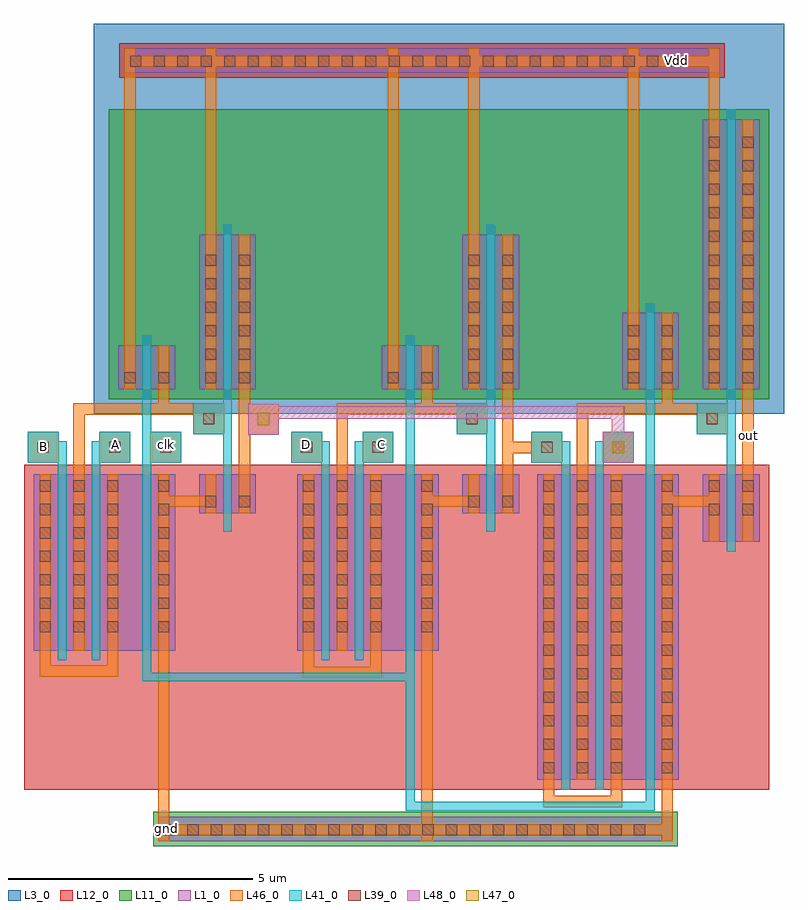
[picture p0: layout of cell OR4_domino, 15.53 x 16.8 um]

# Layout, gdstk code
import gdstk
lib = gdstk.Library(unit=1e-6, precision=1e-09)
def R(c, l, rs):  # rectangles x0, y0, x1, y1
    for r in rs: c.add(gdstk.rectangle(r[:2], r[2:], *l))
def A(c, l, x, y, w, h, nx, ny, dx, dy):  # array of equal rectangles
    R(c, l, [(x+i*dx, y+j*dy, x+i*dx+w, y+j*dy+h) for i in range(nx) for j in range(ny)])
L1_0 = (1, 0)
L3_0 = (3, 0)
L11_0 = (11, 0)
L12_0 = (12, 0)
L39_0 = (39, 0)
L41_0 = (41, 0)
L46_0 = (46, 0)
L47_0 = (47, 0)
L48_0 = (48, 0)

or4_domino = lib.new_cell('OR4_domino')
R(or4_domino, L1_0, [(1.43,-5.235,11.95,-4.735), (9.18,-3.98,12.07,2.26), (-1.11,-1.34,1.78,2.26), (4.27,-1.34,7.16,2.26), (12.56,0.88,13.72,2.26), (2.27,1.47,3.43,2.26), (7.65,1.47,8.81,2.26), (0.62,4,1.78,4.9), (2.27,4,3.43,7.16), (6,4,7.16,4.9), (7.65,4,8.81,7.16), (10.91,4,12.07,5.56), (12.56,4,13.72,9.52), (0.74,10.465,12.91,10.965)])
R(or4_domino, L3_0, [(0.12,3.5,14.22,11.465)])
R(or4_domino, L11_0, [(1.33,-5.335,12.05,-4.635), (0.42,3.8,13.92,9.72)])
R(or4_domino, L12_0, [(-1.31,-4.18,13.92,2.46), (0.64,10.365,13.01,11.065)])
A(or4_domino, L39_0, 1.55, -5.115, 0.23, 0.23, 21, 1, 0.48, 0)
A(or4_domino, L39_0, 9.3, -3.85, 0.23, 0.23, 3, 13, 0.69, 0.48)
A(or4_domino, L39_0, 11.72, -3.85, 0.23, 0.23, 1, 13, 0, 0.48)
A(or4_domino, L39_0, -0.99, -0.97, 0.23, 0.23, 3, 7, 0.69, 0.48)
A(or4_domino, L39_0, 1.43, -0.97, 0.23, 0.23, 1, 7, 0, 0.48)
A(or4_domino, L39_0, 4.39, -0.97, 0.23, 0.23, 3, 7, 0.69, 0.48)
A(or4_domino, L39_0, 6.81, -0.97, 0.23, 0.23, 1, 7, 0, 0.48)
A(or4_domino, L39_0, 2.39, 4.12, 0.23, 0.23, 1, 6, 0, 0.48)
A(or4_domino, L39_0, 3.08, 4.12, 0.23, 0.23, 1, 6, 0, 0.48)
A(or4_domino, L39_0, 7.77, 4.12, 0.23, 0.23, 1, 6, 0, 0.48)
A(or4_domino, L39_0, 8.46, 4.12, 0.23, 0.23, 1, 6, 0, 0.48)
A(or4_domino, L39_0, 11.03, 4.12, 0.23, 0.23, 1, 3, 0, 0.48)
A(or4_domino, L39_0, 11.72, 4.12, 0.23, 0.23, 1, 3, 0, 0.48)
A(or4_domino, L39_0, 12.68, 4.12, 0.23, 0.23, 1, 6, 0, 0.48)
A(or4_domino, L39_0, 13.37, 4.12, 0.23, 0.23, 1, 6, 0, 0.48)
A(or4_domino, L39_0, 12.68, 7.01, 0.23, 0.23, 1, 5, 0, 0.48)
A(or4_domino, L39_0, 13.37, 7.01, 0.23, 0.23, 1, 5, 0, 0.48)
A(or4_domino, L39_0, 0.86, 10.585, 0.23, 0.23, 24, 1, 0.48, 0)
R(or4_domino, L39_0, [(12.68,1.43,12.91,1.66), (13.37,1.43,13.6,1.66), (2.39,1.59,2.62,1.82), (3.08,1.59,3.31,1.82), (7.77,1.59,8,1.82), (8.46,1.59,8.69,1.82), (12.68,1.91,12.91,2.14), (13.37,1.91,13.6,2.14), (-1.03,2.7,-0.8,2.93), (0.43,2.7,0.66,2.93), (1.47,2.7,1.7,2.93), (4.35,2.7,4.58,2.93), (5.81,2.7,6.04,2.93), (9.26,2.7,9.49,2.93), (10.72,2.7,10.95,2.93), (3.47,3.275,3.7,3.505), (2.35,3.28,2.58,3.51), (7.73,3.28,7.96,3.51), (12.64,3.28,12.87,3.51), (0.74,4.12,0.97,4.35), (1.43,4.12,1.66,4.35), (6.12,4.12,6.35,4.35), (6.81,4.12,7.04,4.35)])
R(or4_domino, L41_0, [(6.49,-4.61,6.67,5.1), (6.53,-4.61,11.51,-4.43), (11.4,-4.61,11.58,5.76), (9.67,-4.18,9.85,2.94), (10.36,-4.18,10.54,2.94), (1.11,-1.97,1.29,5.1), (1.11,-1.97,6.67,-1.79), (-0.62,-1.54,-0.44,2.94), (0.07,-1.54,0.25,2.94), (4.76,-1.54,4.94,2.94), (5.45,-1.54,5.63,2.94), (13.05,0.68,13.23,9.72), (2.76,1.09,2.94,7.36), (8.14,1.09,8.32,7.36), (-1.23,2.5,-0.6,3.13), (0.23,2.5,0.86,3.13), (1.27,2.5,1.9,3.13), (4.15,2.5,4.78,3.13), (5.61,2.5,6.24,3.13), (9.06,2.5,9.69,3.13), (10.52,2.5,11.15,3.13), (2.15,3.08,2.78,3.71), (7.53,3.08,8.16,3.71), (12.44,3.08,13.07,3.71)])
R(or4_domino, L46_0, [(1.43,-5.235,1.66,2.26), (6.81,-5.235,7.04,2.26), (11.72,-5.235,11.95,2.26), (1.43,-5.115,11.95,-4.885), (9.3,-4.54,10.91,-4.31), (9.3,-4.54,9.53,2.26), (10.68,-4.54,10.91,2.26), (9.99,-3.98,10.22,3.71), (4.39,-1.9,6,-1.67), (4.39,-1.9,4.62,2.26), (5.77,-1.9,6,2.26), (-0.99,-1.87,-0.76,2.26), (-0.99,-1.87,0.62,-1.64), (0.39,-1.87,0.62,2.26), (-0.3,-1.34,-0.07,3.71), (5.08,-1.34,5.31,3.71), (12.68,0.88,12.91,2.26), (13.37,0.88,13.6,9.52), (2.39,1.47,2.62,2.26), (3.08,1.47,3.31,7.16), (7.77,1.47,8,2.26), (8.46,1.47,8.69,7.16), (1.51,1.595,2.49,1.825), (6.88,1.595,7.86,1.825), (11.825,1.595,12.805,1.825), (-1.23,2.5,-0.6,3.13), (0.23,2.5,0.86,3.13), (1.27,2.5,1.9,3.13), (4.15,2.5,4.78,3.13), (5.61,2.5,6.24,3.13), (9.06,2.5,9.69,3.13), (10.52,2.5,11.15,3.13), (8.565,2.695,9.545,2.925), (3.27,3.075,3.9,3.705), (2.15,3.08,2.78,3.71), (7.53,3.08,8.16,3.71), (12.44,3.08,13.07,3.71), (-0.3,3.48,2.475,3.71), (5.08,3.48,7.855,3.71), (9.99,3.48,12.765,3.71), (1.43,3.55,1.66,4.9), (6.81,3.55,7.04,4.9), (11.72,3.55,11.95,5.56), (0.74,4,0.97,10.965), (2.39,4,2.62,10.965), (6.12,4,6.35,10.965), (7.77,4,8,10.965), (11.03,4,11.26,10.965), (12.68,4,12.91,10.965), (0.74,10.585,12.91,10.815)])
R(or4_domino, L47_0, [(10.71,2.69,10.96,2.94), (3.46,3.265,3.71,3.515)])
R(or4_domino, L48_0, [(10.52,2.5,11.15,3.13), (10.705,2.5,10.955,3.5), (3.27,3.075,3.9,3.705), (3.55,3.4,10.955,3.65)])
or4_domino.add(gdstk.Label('D', (4.455,2.875), layer=101, texttype=0))
or4_domino.add(gdstk.Label('out', (13.49,3.06), layer=101, texttype=0))
or4_domino.add(gdstk.Label('gnd', (1.6,-4.975), layer=101, texttype=0))
or4_domino.add(gdstk.Label('Vdd', (12.025,10.715), layer=101, texttype=0))
or4_domino.add(gdstk.Label('C', (6,2.875), layer=101, texttype=0))
or4_domino.add(gdstk.Label('clk', (1.61,2.875), layer=101, texttype=0))
or4_domino.add(gdstk.Label('A', (0.55,2.875), layer=101, texttype=0))
or4_domino.add(gdstk.Label('B', (-0.905,2.835), layer=101, texttype=0))

lib.write_gds('OR4_domino.gds')
